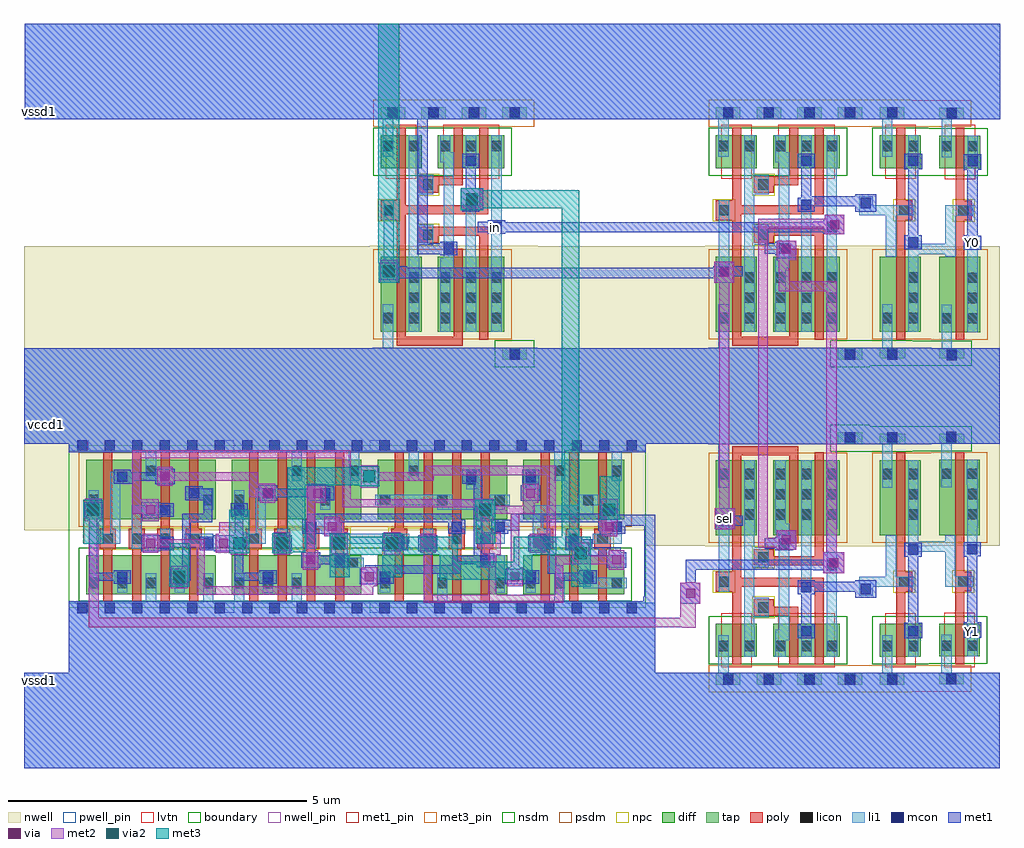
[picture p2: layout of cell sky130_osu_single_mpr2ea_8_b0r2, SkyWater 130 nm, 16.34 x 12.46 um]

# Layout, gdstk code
import gdstk
lib = gdstk.Library(unit=1e-6, precision=1e-09)
def R(c, l, rs):  # rectangles x0, y0, x1, y1
    for r in rs: c.add(gdstk.rectangle(r[:2], r[2:], *l))
def A(c, l, x, y, w, h, nx, ny, dx, dy):  # array of equal rectangles
    R(c, l, [(x+i*dx, y+j*dy, x+i*dx+w, y+j*dy+h) for i in range(nx) for j in range(ny)])
nwell_pin = (64, 16)
nwell = (64, 20)
diff = (65, 20)
tap = (65, 44)
poly = (66, 20)
licon = (66, 44)
li1 = (67, 20)
mcon = (67, 44)
met1_pin = (68, 16)
met1 = (68, 20)
via = (68, 44)
met2 = (69, 20)
via2 = (69, 44)
met3_pin = (70, 16)
met3 = (70, 20)
nsdm = (93, 44)
psdm = (94, 20)
npc = (95, 20)
pwell_pin = (122, 16)
lvtn = (125, 44)
boundary = (235, 4)

sky130_osu_sc_12t_hs__mu = lib.new_cell('sky130_osu_sc_12T_hs__mux2_1')
R(sky130_osu_sc_12t_hs__mu, nwell, [(-0.05,2.42,2.76,4.51)])
R(sky130_osu_sc_12t_hs__mu, diff, [(0.13,0.57,0.815,1.12), (1.085,0.57,2.2,1.12), (0.13,2.6,0.815,3.86), (1.085,2.6,2.2,3.86)])
A(sky130_osu_sc_12t_hs__mu, tap, 0.13, 0.1, 0.41, 0.2, 4, 1, 0.68, 0)
R(sky130_osu_sc_12t_hs__mu, tap, [(2.17,4.13,2.58,4.33)])
R(sky130_osu_sc_12t_hs__mu, poly, [(0.4,0.44,0.55,1.66), (1.355,0.44,1.505,1.26), (1.785,0.44,1.935,1.74), (0.76,1.26,1.505,1.41), (0.76,1.41,1.095,1.53), (0.13,1.66,0.55,1.74), (0.13,1.74,1.935,1.89), (0.13,1.89,0.55,1.99), (0.4,1.99,0.55,3.94), (0.76,2.1,1.935,2.25), (0.76,2.25,1.095,2.37), (1.785,2.25,1.935,3.99), (1.355,2.47,1.505,3.94), (0.4,3.94,1.505,4.09)])
A(sky130_osu_sc_12t_hs__mu, licon, 0.25, 0.13, 0.17, 0.17, 4, 1, 0.68, 0)
A(sky130_osu_sc_12t_hs__mu, licon, 0.605, 2.865, 0.17, 0.17, 1, 3, 0, 0.34)
A(sky130_osu_sc_12t_hs__mu, licon, 1.125, 2.865, 0.17, 0.17, 1, 3, 0, 0.34)
A(sky130_osu_sc_12t_hs__mu, licon, 1.56, 2.865, 0.17, 0.17, 1, 3, 0, 0.34)
A(sky130_osu_sc_12t_hs__mu, licon, 1.99, 2.865, 0.17, 0.17, 1, 3, 0, 0.34)
R(sky130_osu_sc_12t_hs__mu, licon, [(0.17,0.665,0.34,0.835), (0.605,0.665,0.775,0.835), (1.125,0.665,1.295,0.835), (1.56,0.665,1.73,0.835), (1.99,0.665,2.16,0.835), (0.84,1.31,1.01,1.48), (0.18,1.74,0.35,1.91), (0.84,2.15,1.01,2.32), (0.17,3.545,0.34,3.715), (2.29,4.13,2.46,4.3)])
R(sky130_osu_sc_12t_hs__mu, li1, [(0,0,2.75,0.3), (0.17,0.3,0.34,0.93), (0.6,0.57,0.775,1.06), (1.125,0.57,1.295,0.85), (1.555,0.57,1.73,1.08), (1.985,0.57,2.16,1.12), (1.125,0.85,1.355,1.02), (1.185,1.02,1.355,2.63), (0.6,1.06,0.77,1.23), (1.985,1.12,2.155,2.72), (0.6,1.23,1.01,1.56), (0.6,1.56,0.77,2.07), (1.555,1.65,1.725,2.6), (0.18,1.66,0.35,2.93), (0.6,2.07,1.01,2.4), (0.6,2.4,0.77,2.6), (0.6,2.6,0.775,3.86), (1.555,2.6,1.73,3.86), (1.125,2.63,1.355,2.8), (1.985,2.72,2.16,3.86), (1.125,2.8,1.295,3.86), (0.17,3.4,0.34,4.13), (0,4.13,2.75,4.44)])
A(sky130_osu_sc_12t_hs__mu, mcon, 0.25, 0.1, 0.17, 0.17, 4, 1, 0.68, 0)
R(sky130_osu_sc_12t_hs__mu, mcon, [(1.555,0.91,1.725,1.08), (1.555,1.65,1.725,1.82), (1.985,2.02,2.155,2.19), (1.185,2.38,1.355,2.55), (0.18,2.76,0.35,2.93), (2.29,4.16,2.46,4.33)])
R(sky130_osu_sc_12t_hs__mu, met1, [(0,0,2.75,0.3), (1.495,0.88,1.785,1.11), (1.555,1.11,1.725,1.62), (1.495,1.62,1.785,1.85), (1.925,1.99,2.215,2.02), (1.755,2.02,2.215,2.19), (1.925,2.19,2.215,2.22), (1.125,2.35,1.415,2.38), (0.95,2.38,1.415,2.55), (1.125,2.55,1.415,2.58), (0.12,2.73,0.41,2.76), (0.12,2.76,0.58,2.93), (0.12,2.93,0.41,2.96), (0,4.13,2.75,4.44)])
R(sky130_osu_sc_12t_hs__mu, nsdm, [(0.005,0.445,2.325,1.245), (2.045,4.005,2.705,4.455)])
R(sky130_osu_sc_12t_hs__mu, psdm, [(0.005,-0.025,2.705,0.425), (0.005,2.475,2.325,3.985)])
R(sky130_osu_sc_12t_hs__mu, npc, [(0.74,1.21,1.11,1.58), (0.08,1.64,0.45,2.01), (0.74,2.05,1.11,2.42)])
R(sky130_osu_sc_12t_hs__mu, lvtn, [(0.22,0.39,0.73,1.3), (1.175,0.39,2.115,1.3)])
sky130_osu_sc_12t_hs__mu.add(gdstk.Label('S0', (0.27,2.85), layer=68, texttype=5))
sky130_osu_sc_12t_hs__mu.add(gdstk.Label('Y', (1.645,1.74), layer=68, texttype=5))
sky130_osu_sc_12t_hs__mu.add(gdstk.Label('A0', (1.265,2.47), layer=68, texttype=5))
sky130_osu_sc_12t_hs__mu.add(gdstk.Label('A1', (2.075,2.11), layer=68, texttype=5))
sky130_osu_sc_12t_hs__mu.add(gdstk.Label('vccd1', (2.38,4.2), layer=68, texttype=5))
sky130_osu_sc_12t_hs__mu.add(gdstk.Label('vssd1 ', (0.34,0.24), layer=68, texttype=5))

sky130_osu_sc_12t_hs__in = lib.new_cell('sky130_osu_sc_12T_hs__inv_1')
R(sky130_osu_sc_12t_hs__in, nwell, [(-0.05,2.42,0.995,4.51)])
R(sky130_osu_sc_12t_hs__in, diff, [(0.13,0.57,0.815,1.12), (0.13,2.6,0.815,3.86)])
R(sky130_osu_sc_12t_hs__in, tap, [(0.13,0.1,0.54,0.3), (0.13,4.13,0.55,4.3)])
R(sky130_osu_sc_12t_hs__in, poly, [(0.4,0.44,0.55,1.66), (0.4,1.66,0.67,1.99), (0.4,1.99,0.55,3.99)])
A(sky130_osu_sc_12t_hs__in, licon, 0.605, 2.865, 0.17, 0.17, 1, 3, 0, 0.34)
R(sky130_osu_sc_12t_hs__in, licon, [(0.25,0.13,0.42,0.3), (0.17,0.665,0.34,0.835), (0.605,0.665,0.775,0.835), (0.45,1.74,0.62,1.91), (0.17,3.545,0.34,3.715), (0.25,4.13,0.42,4.3)])
R(sky130_osu_sc_12t_hs__in, li1, [(0,0,0.99,0.3), (0.17,0.3,0.34,0.93), (0.605,0.57,0.775,1.08), (0.23,1.74,0.7,1.91), (0.23,1.91,0.4,2.6), (0.6,2.28,0.77,2.715), (0.6,2.715,0.775,3.86), (0.17,3.4,0.34,4.13), (0,4.13,0.99,4.44)])
R(sky130_osu_sc_12t_hs__in, mcon, [(0.25,0.1,0.42,0.27), (0.605,0.91,0.775,1.08), (0.6,2.28,0.77,2.45), (0.25,4.16,0.42,4.33)])
R(sky130_osu_sc_12t_hs__in, met1, [(0,0,0.99,0.3), (0.54,0.88,0.835,1.14), (0.6,1.14,0.77,2.24), (0.54,2.24,0.77,2.245), (0.54,2.245,0.83,2.48), (0,4.13,0.99,4.44)])
R(sky130_osu_sc_12t_hs__in, nsdm, [(0.005,0.445,0.94,1.245), (0.005,4.005,0.675,4.425)])
R(sky130_osu_sc_12t_hs__in, psdm, [(0.005,-0.025,0.665,0.425), (0.005,2.475,0.94,3.985)])
R(sky130_osu_sc_12t_hs__in, npc, [(0.35,1.64,0.72,2.01)])
R(sky130_osu_sc_12t_hs__in, lvtn, [(0.22,0.39,0.73,1.3)])
sky130_osu_sc_12t_hs__in.add(gdstk.Label('A', (0.32,1.85), layer=67, texttype=5))
sky130_osu_sc_12t_hs__in.add(gdstk.Label('Y', (0.75,1.72), layer=68, texttype=5))
sky130_osu_sc_12t_hs__in.add(gdstk.Label('vccd1', (0.34,4.2), layer=68, texttype=5))
sky130_osu_sc_12t_hs__in.add(gdstk.Label('vssd1', (0.34,0.24), layer=68, texttype=5))

sky130_osu_sc_12t_hs__fi = lib.new_cell('sky130_osu_sc_12T_hs__fill_8')
R(sky130_osu_sc_12t_hs__fi, nwell, [(-0.045,2.425,0.895,4.485)])
R(sky130_osu_sc_12t_hs__fi, li1, [(0,0,0.88,0.305), (0,4.135,0.88,4.44)])
R(sky130_osu_sc_12t_hs__fi, met1, [(0,0,0.88,0.305), (0,4.135,0.88,4.44)])
sky130_osu_sc_12t_hs__fi.add(gdstk.Label('vccd1', (0.555,4.295), layer=68, texttype=5))
sky130_osu_sc_12t_hs__fi.add(gdstk.Label('vssd1', (0.56,0.14), layer=68, texttype=5))

c_sky130_osu_sc_12t_hs__fi = lib.new_cell('sky130_osu_sc_12T_hs__fill_2')
R(c_sky130_osu_sc_12t_hs__fi, nwell, [(-0.035,2.425,0.25,4.485)])
R(c_sky130_osu_sc_12t_hs__fi, li1, [(0,0,0.22,0.305), (0,4.135,0.22,4.44)])
R(c_sky130_osu_sc_12t_hs__fi, met1, [(0,0,0.22,0.305), (0,4.135,0.22,4.44)])
c_sky130_osu_sc_12t_hs__fi.add(gdstk.Label('vccd1', (0.11,4.28), layer=68, texttype=5))
c_sky130_osu_sc_12t_hs__fi.add(gdstk.Label('vssd1', (0.115,0.14), layer=68, texttype=5))

scs130hd_mpr2ea_8 = lib.new_cell('scs130hd_mpr2ea_8')
A(scs130hd_mpr2ea_8, nwell_pin, 0.16, 2.63, 0.17, 0.17, 4, 1, 2.44, 0)
R(scs130hd_mpr2ea_8, nwell, [(-0.19,1.3,9.85,2.91)])
A(scs130hd_mpr2ea_8, diff, 0.29, 0.23, 2.17, 0.65, 3, 1, 2.44, 0)
A(scs130hd_mpr2ea_8, diff, 0.29, 1.48, 2.17, 1, 3, 1, 2.44, 0)
R(scs130hd_mpr2ea_8, diff, [(7.61,0.23,9.3,0.88), (7.61,1.48,9.3,2.48)])
A(scs130hd_mpr2ea_8, poly, 0.58, 0.1, 0.15, 0.89, 4, 1, 0.48, 0)
A(scs130hd_mpr2ea_8, poly, 3.02, 0.1, 0.15, 0.89, 4, 1, 0.48, 0)
A(scs130hd_mpr2ea_8, poly, 5.46, 0.1, 0.15, 0.89, 4, 1, 0.48, 0)
A(scs130hd_mpr2ea_8, poly, 7.9, 0.1, 0.15, 0.89, 3, 1, 0.48, 0)
A(scs130hd_mpr2ea_8, poly, 0.52, 0.99, 0.27, 0.33, 4, 1, 0.48, 0)
A(scs130hd_mpr2ea_8, poly, 2.96, 0.99, 0.27, 0.33, 4, 1, 0.48, 0)
A(scs130hd_mpr2ea_8, poly, 5.4, 0.99, 0.27, 0.33, 4, 1, 0.48, 0)
A(scs130hd_mpr2ea_8, poly, 7.84, 0.99, 0.27, 0.33, 3, 1, 0.48, 0)
A(scs130hd_mpr2ea_8, poly, 0.58, 1.32, 0.15, 1.29, 4, 1, 0.48, 0)
A(scs130hd_mpr2ea_8, poly, 3.02, 1.32, 0.15, 1.29, 4, 1, 0.48, 0)
A(scs130hd_mpr2ea_8, poly, 5.46, 1.32, 0.15, 1.29, 4, 1, 0.48, 0)
A(scs130hd_mpr2ea_8, poly, 7.9, 1.32, 0.15, 1.29, 3, 1, 0.48, 0)
A(scs130hd_mpr2ea_8, licon, 0.33, 0.33, 0.17, 0.17, 5, 1, 0.48, 0)
A(scs130hd_mpr2ea_8, licon, 2.77, 0.33, 0.17, 0.17, 3, 1, 0.48, 0)
A(scs130hd_mpr2ea_8, licon, 5.21, 0.33, 0.17, 0.17, 3, 2, 0.96, 1.39)
A(scs130hd_mpr2ea_8, licon, 0.57, 1.07, 0.17, 0.17, 4, 1, 0.48, 0)
A(scs130hd_mpr2ea_8, licon, 3.01, 1.07, 0.17, 0.17, 4, 1, 0.48, 0)
A(scs130hd_mpr2ea_8, licon, 5.45, 1.07, 0.17, 0.17, 4, 1, 0.48, 0)
A(scs130hd_mpr2ea_8, licon, 7.89, 1.07, 0.17, 0.17, 3, 1, 0.48, 0)
R(scs130hd_mpr2ea_8, licon, [(7.65,0.33,7.82,0.5), (8.13,0.33,8.3,0.5), (9.09,0.33,9.26,0.5), (4.67,0.67,4.84,0.84), (0.33,1.72,0.5,1.89), (2.25,1.72,2.42,1.89), (2.77,1.72,2.94,1.89), (4.21,1.72,4.38,1.89), (8.61,1.72,8.78,1.89), (6.65,2.06,6.82,2.23), (7.65,2.06,7.82,2.23), (1.29,2.21,1.46,2.38), (3.73,2.21,3.9,2.38), (4.69,2.21,4.86,2.38), (5.69,2.21,5.86,2.38), (8.13,2.21,8.3,2.38), (9.09,2.21,9.26,2.38)])
A(scs130hd_mpr2ea_8, li1, 0.33, 0.08, 0.17, 0.5, 3, 1, 0.96, 0)
A(scs130hd_mpr2ea_8, li1, 3.49, 0.99, 0.17, 0.33, 3, 1, 2.44, 0)
R(scs130hd_mpr2ea_8, li1, [(0,-0.09,9.66,0.08), (2.77,0.08,2.94,0.58), (3.73,0.08,3.9,0.58), (6.17,0.08,6.34,0.58), (8.13,0.08,8.3,0.58), (0.81,0.25,0.98,0.6), (1.77,0.25,1.94,0.6), (3.25,0.25,3.42,0.6), (5.21,0.25,5.38,0.6), (7.13,0.25,7.3,0.71), (7.65,0.25,7.82,0.6), (8.61,0.33,9.34,0.5), (8.61,0.5,8.78,0.6), (4.45,0.67,4.94,0.84), (6.89,0.71,7.3,0.88), (4.45,0.84,4.62,0.88), (1.05,0.99,1.22,1.55), (1.53,0.99,1.7,1.32), (2.25,0.99,2.42,1.07), (3.97,0.99,4.14,1.44), (5.45,0.99,5.62,1.07), (6.41,0.99,6.58,1.44), (7.89,0.99,8.06,1.07), (0.49,1.07,0.86,1.24), (1.93,1.07,2.42,1.24), (2.93,1.07,3.3,1.24), (4.37,1.07,5.7,1.24), (6.81,1.07,7.3,1.24), (7.77,1.07,8.06,1.32), (8.77,1.07,9.26,1.24), (0.69,1.24,0.86,2.11), (3.13,1.24,3.3,1.83), (7.13,1.24,7.3,1.44), (9.09,1.24,9.26,1.44), (7.77,1.32,7.94,1.55), (0.33,1.55,0.5,1.97), (1.05,1.55,1.7,1.72), (2.77,1.55,2.94,1.97), (7.77,1.55,8.78,1.72), (2.25,1.64,2.42,1.83), (4.21,1.64,4.38,2), (6.17,1.64,7.3,1.72), (5.13,1.72,7.38,1.81), (8.53,1.72,8.86,1.89), (5.13,1.81,6.42,1.89), (7.05,1.81,7.38,1.89), (2.01,1.83,2.42,2), (3.13,1.83,3.42,2), (6.65,1.98,6.82,2.31), (7.65,1.98,7.82,2.31), (0.69,2.11,0.98,2.28), (1.29,2.13,1.46,2.63), (3.73,2.13,3.9,2.63), (4.69,2.13,4.86,2.63), (5.69,2.13,5.86,2.63), (8.13,2.13,8.3,2.63), (9.09,2.13,9.26,2.63), (0,2.63,9.66,2.8)])
A(scs130hd_mpr2ea_8, mcon, 0.14, -0.09, 0.17, 0.17, 21, 2, 0.46, 2.72)
R(scs130hd_mpr2ea_8, mcon, [(0.81,0.43,0.98,0.6), (1.77,0.43,1.94,0.6), (3.25,0.43,3.42,0.6), (5.21,0.43,5.38,0.6), (7.65,0.43,7.82,0.6), (8.61,0.43,8.78,0.6), (4.45,0.71,4.62,0.88), (6.89,0.71,7.06,0.88), (1.53,0.99,1.7,1.16), (2.25,0.99,2.42,1.16), (3.49,0.99,3.66,1.16), (5.45,0.99,5.62,1.16), (5.93,0.99,6.1,1.16), (7.89,0.99,8.06,1.16), (8.37,0.99,8.54,1.16), (3.97,1.27,4.14,1.44), (6.41,1.27,6.58,1.44), (7.13,1.27,7.3,1.44), (9.09,1.27,9.26,1.44), (0.33,1.55,0.5,1.72), (1.53,1.55,1.7,1.72), (2.77,1.55,2.94,1.72), (2.01,1.83,2.18,2), (3.25,1.83,3.42,2), (4.21,1.83,4.38,2), (0.81,2.11,0.98,2.28), (6.65,2.11,6.82,2.28), (7.65,2.11,7.82,2.28)])
R(scs130hd_mpr2ea_8, met1_pin, [(0.15,-0.08,0.32,0.08), (0.15,2.63,0.32,2.8)])
R(scs130hd_mpr2ea_8, met1, [(0,-0.24,9.66,0.11), (1.69,0.39,2.01,0.45), (4.87,0.39,5.19,0.4), (7.31,0.39,7.63,0.4), (0.75,0.4,1.04,0.45), (3.19,0.4,3.48,0.45), (4.87,0.4,5.44,0.57), (7.31,0.4,7.88,0.63), (8.55,0.4,8.84,0.45), (0.34,0.45,1.04,0.59), (1.69,0.45,2.04,0.65), (2.78,0.45,3.48,0.59), (8.14,0.45,8.84,0.57), (4.87,0.57,6.56,0.65), (8.02,0.57,8.84,0.59), (0.34,0.59,0.48,1.51), (0.75,0.59,1.04,0.63), (2.78,0.59,2.92,0.95), (3.19,0.59,3.48,0.63), (8.02,0.59,8.28,0.71), (8.55,0.59,8.84,0.63), (7.31,0.63,7.63,0.65), (1.9,0.65,2.04,1.43), (4.96,0.65,6.56,0.71), (3.89,0.67,4.21,0.73), (9.01,0.67,9.33,0.87), (4.39,0.68,4.68,0.73), (6.83,0.68,7.12,0.73), (6.42,0.71,6.56,0.73), (8.02,0.71,8.16,0.95), (3.89,0.73,4.68,0.87), (6.42,0.73,7.12,0.87), (3.89,0.87,4.21,0.93), (4.39,0.87,4.68,0.91), (6.78,0.87,7.12,0.91), (8.62,0.87,9.33,0.93), (6.78,0.91,6.92,2.08), (8.62,0.93,9.24,0.96), (1.21,0.95,1.53,0.96), (2.43,0.95,2.92,0.96), (3.41,0.95,3.73,1.21), (5.25,0.95,5.57,0.96), (5.85,0.95,6.17,1.21), (7.69,0.95,8.16,1.19), (1.21,0.96,1.76,1.19), (2.19,0.96,2.92,1.19), (5.25,0.96,5.68,1.19), (8.31,0.96,9.24,1.01), (8.31,1.01,8.76,1.15), (8.31,1.15,8.6,1.19), (1.21,1.19,1.53,1.21), (2.43,1.19,2.92,1.21), (5.25,1.19,5.57,1.21), (7.69,1.19,8.01,1.21), (2.78,1.21,2.92,1.52), (4.25,1.23,4.57,1.24), (8.89,1.23,9.21,1.24), (3.91,1.24,4.57,1.43), (6.35,1.24,6.64,1.43), (7.07,1.24,7.36,1.29), (8.89,1.24,9.32,1.29), (7.07,1.29,7.54,1.43), (8.86,1.29,9.32,1.43), (1.9,1.43,2.4,1.57), (3.91,1.43,6.64,1.47), (7.07,1.43,9.32,1.47), (3.98,1.47,6.56,1.57), (7.4,1.47,9.21,1.49), (7.4,1.49,9,1.57), (0.25,1.51,0.57,1.77), (1.21,1.51,1.53,1.52), (1.21,1.52,1.76,1.75), (2.71,1.52,3,1.75), (2.26,1.57,2.4,1.8), (1.21,1.75,1.53,1.77), (3.17,1.79,3.49,1.85), (4.01,1.79,4.33,1.8), (7.57,1.79,7.89,2.05), (1.95,1.8,2.4,1.99), (4.01,1.8,4.44,1.85), (3.17,1.85,4.44,1.99), (1.95,1.99,2.24,2.03), (3.17,1.99,3.49,2.05), (4.01,1.99,4.44,2.03), (4.01,2.03,4.33,2.05), (7.59,2.05,7.88,2.31), (1.45,2.07,1.77,2.13), (0.75,2.08,1.08,2.13), (6.59,2.08,6.92,2.27), (0.75,2.13,1.77,2.27), (0.75,2.27,1.04,2.31), (1.45,2.27,1.77,2.33), (6.59,2.27,6.88,2.31), (0,2.6,9.66,2.96)])
R(scs130hd_mpr2ea_8, via, [(1.775,0.445,1.925,0.595), (4.955,0.445,5.105,0.595), (7.395,0.445,7.545,0.595), (3.975,0.725,4.125,0.875), (9.095,0.725,9.245,0.875), (1.295,1.005,1.445,1.155), (2.515,1.005,2.665,1.155), (3.495,1.005,3.645,1.155), (5.335,1.005,5.485,1.155), (5.935,1.005,6.085,1.155), (7.775,1.005,7.925,1.155), (4.335,1.285,4.485,1.435), (8.975,1.285,9.125,1.435), (0.335,1.565,0.485,1.715), (1.295,1.565,1.445,1.715), (3.255,1.845,3.405,1.995), (4.095,1.845,4.245,1.995), (7.655,1.845,7.805,1.995), (1.535,2.125,1.685,2.275)])
R(scs130hd_mpr2ea_8, met2, [(5.94,0.08,8.28,0.22), (2.14,0.22,5.1,0.36), (5.94,0.22,6.08,0.92), (7.02,0.22,7.16,0.89), (8.14,0.22,8.28,0.73), (1.71,0.33,1.99,0.705), (2.14,0.36,2.28,1.01), (4.9,0.36,5.16,0.68), (7.34,0.36,7.6,0.68), (3.92,0.64,4.18,0.96), (9.04,0.64,9.3,0.73), (7.4,0.68,7.54,1.57), (8.14,0.73,9.3,0.87), (8.43,0.87,8.71,1.1), (9.04,0.87,9.3,0.96), (2.71,0.89,2.99,0.92), (3.43,0.89,3.71,1.265), (4.39,0.89,4.67,1.2), (5.27,0.89,5.55,1.265), (6.95,0.89,7.23,1.26), (1.24,0.92,1.5,1.01), (2.46,0.92,2.99,1.24), (5.88,0.92,6.14,1.24), (7.72,0.92,7.98,1.1), (3.98,0.96,4.12,1.76), (1.24,1.01,2.28,1.15), (7.72,1.1,8.15,1.24), (1.24,1.15,1.5,1.24), (4.28,1.2,4.67,1.265), (8.92,1.2,9.18,1.45), (2.52,1.24,2.99,1.265), (8,1.24,8.15,2.22), (2.52,1.265,2.92,1.43), (4.28,1.265,4.6,1.43), (4.28,1.43,4.54,1.52), (0.27,1.45,0.55,1.825), (1.23,1.45,1.51,1.57), (6.83,1.45,7.11,1.57), (8.91,1.45,9.19,1.825), (1.06,1.57,1.51,1.82), (6.83,1.57,7.8,1.68), (4.58,1.68,7.8,1.71), (4.58,1.71,7.11,1.82), (7.6,1.71,7.8,1.76), (3.2,1.76,3.46,1.85), (3.98,1.76,4.3,2.08), (7.6,1.76,7.86,2.08), (1.06,1.82,1.2,2.5), (4.58,1.82,4.72,2.5), (6.81,1.82,7.11,1.825), (3.02,1.85,3.46,2.08), (4.89,2.01,5.17,2.13), (1.48,2.04,1.74,2.13), (3.02,2.08,3.16,2.13), (1.48,2.13,3.16,2.27), (4.89,2.13,6.11,2.22), (4.89,2.22,8.15,2.27), (1.48,2.27,1.74,2.36), (4.89,2.27,5.17,2.385), (5.97,2.27,8.15,2.38), (1.06,2.5,4.72,2.64)])
R(scs130hd_mpr2ea_8, via2, [(1.75,0.42,1.95,0.62), (8.47,0.81,8.67,1.01), (2.75,0.98,2.95,1.18), (3.47,0.98,3.67,1.18), (4.43,0.98,4.63,1.18), (5.31,0.98,5.51,1.18), (0.31,1.54,0.51,1.74), (6.87,1.54,7.07,1.74), (8.95,1.54,9.15,1.74), (4.93,2.1,5.13,2.3)])
R(scs130hd_mpr2ea_8, met3_pin, [(1.69,0.35,2.02,1.08), (8.41,0.35,8.74,1.08), (4.37,0.51,4.7,1.24), (5.25,0.51,5.58,1.24), (2.69,0.91,3.02,1.64), (0.25,1.07,0.58,1.8), (6.81,1.07,7.14,1.8), (8.89,1.47,9.22,2.2)])
R(scs130hd_mpr2ea_8, met3, [(1.685,0.35,2.02,0.675), (8.41,0.35,8.74,0.73), (4.37,0.51,4.7,0.915), (5.25,0.51,5.58,0.925), (1.69,0.675,2.02,1.08), (8.405,0.73,8.74,1.08), (2.685,0.91,3.02,1.245), (3.405,0.91,3.74,0.93), (4.365,0.915,4.7,1.245), (5.245,0.925,5.58,1.245), (3.405,0.93,3.96,1.245), (0.245,1.07,0.58,1.805), (6.81,1.07,7.14,1.48), (2.69,1.245,3.02,1.64), (3.66,1.245,3.96,2.05), (8.885,1.47,9.22,1.8), (6.805,1.48,7.14,1.805), (8.89,1.8,9.22,2.2), (4.865,2.03,5.2,2.05), (3.66,2.05,5.2,2.35), (4.865,2.35,5.2,2.37)])
R(scs130hd_mpr2ea_8, nsdm, [(0.165,0.105,9.425,1.005)])
R(scs130hd_mpr2ea_8, psdm, [(0.165,1.355,9.425,2.605)])
A(scs130hd_mpr2ea_8, npc, 0.47, 0.97, 1.81, 0.37, 3, 1, 2.44, 0)
R(scs130hd_mpr2ea_8, npc, [(7.79,0.97,9.12,1.34)])
A(scs130hd_mpr2ea_8, pwell_pin, 0.16, -0.08, 0.17, 0.16, 4, 1, 2.44, 0)
R(scs130hd_mpr2ea_8, boundary, [(0,0,9.66,2.72)])
scs130hd_mpr2ea_8.add(gdstk.Label('VPB', (0.245,2.715), layer=64, texttype=5))
scs130hd_mpr2ea_8.add(gdstk.Label('VPB', (2.685,2.715), layer=64, texttype=5))
scs130hd_mpr2ea_8.add(gdstk.Label('VPB', (5.125,2.715), layer=64, texttype=5))
scs130hd_mpr2ea_8.add(gdstk.Label('VPB', (7.565,2.715), layer=64, texttype=5))
scs130hd_mpr2ea_8.add(gdstk.Label('VNB', (0.245,0), layer=64, texttype=59))
scs130hd_mpr2ea_8.add(gdstk.Label('VNB', (2.685,0), layer=64, texttype=59))
scs130hd_mpr2ea_8.add(gdstk.Label('VNB', (5.125,0), layer=64, texttype=59))
scs130hd_mpr2ea_8.add(gdstk.Label('VNB', (7.565,0), layer=64, texttype=59))
scs130hd_mpr2ea_8.add(gdstk.Label('vpwr', (0.235,2.715), layer=68, texttype=5))
scs130hd_mpr2ea_8.add(gdstk.Label('vgnd', (0.235,0), layer=68, texttype=5))
scs130hd_mpr2ea_8.add(gdstk.Label('B0', (9.055,1.835), layer=70, texttype=5))
scs130hd_mpr2ea_8.add(gdstk.Label('A1', (4.535,0.875), layer=70, texttype=5))
scs130hd_mpr2ea_8.add(gdstk.Label('R2', (0.415,1.435), layer=70, texttype=5))
scs130hd_mpr2ea_8.add(gdstk.Label('A0', (8.575,0.715), layer=70, texttype=5))
scs130hd_mpr2ea_8.add(gdstk.Label('R0', (6.975,1.435), layer=70, texttype=5))
scs130hd_mpr2ea_8.add(gdstk.Label('R3', (2.855,1.275), layer=70, texttype=5))
scs130hd_mpr2ea_8.add(gdstk.Label('B1', (5.415,0.875), layer=70, texttype=5))
scs130hd_mpr2ea_8.add(gdstk.Label('R1', (1.855,0.715), layer=70, texttype=5))

sky130_osu_single_mpr2ea = lib.new_cell('sky130_osu_single_mpr2ea_8_b0r2')
R(sky130_osu_single_mpr2ea, nwell, [(10.39,3.72,11.455,4.02), (16.11,3.72,16.335,4.68), (15.365,3.86,15.515,4.035), (0,3.985,0.635,4.095), (10.385,4.02,11.455,5.43), (0,4.095,0.885,4.605), (0,4.605,0.56,5.43), (16.15,4.68,16.335,4.69), (16.175,4.69,16.335,5.21), (15.65,4.755,16.105,5.275), (16.115,5.21,16.335,5.215), (16.11,5.215,16.335,5.43), (0,5.43,16.335,8.74)])
R(sky130_osu_single_mpr2ea, diff, [(15.795,2.21,15.965,2.38)])
R(sky130_osu_single_mpr2ea, li1, [(0.005,0,16.335,1.6), (0.75,1.6,10.565,2.745), (15.795,2.21,15.965,2.38), (0.75,2.745,1.07,2.75), (1.08,2.745,10.565,2.75), (0.875,2.75,1.07,2.765), (3.175,2.75,3.37,2.765), (5.01,2.75,5.205,2.765), (6.85,2.75,7.045,2.765), (8.7,2.75,8.9,2.78), (10.37,2.75,10.565,2.765), (8.88,2.78,8.9,2.865), (13.98,2.885,14.21,3.035), (13.98,3.035,14.615,3.205), (14.91,3.625,15.5,3.795), (15.785,4.755,15.955,5.1), (0.005,5.43,16.335,7.03), (14.97,8.445,14.975,8.605), (14.845,8.605,15.515,8.775), (15.795,8.71,15.965,8.88), (13.98,9.255,14.48,9.425), (13.98,9.425,14.21,9.575), (0.01,10.86,16.34,12.46)])
R(sky130_osu_single_mpr2ea, mcon, [(15.795,2.21,15.965,2.38), (14.01,2.915,14.18,3.085), (15.795,8.71,15.965,8.88), (14.01,9.375,14.18,9.545)])
R(sky130_osu_single_mpr2ea, met1_pin, [(15.795,2.21,15.965,2.38), (15.795,8.71,15.965,8.88), (7.825,8.97,7.97,9.14)])
R(sky130_osu_single_mpr2ea, met1, [(0.005,0,16.335,1.6), (0.75,1.6,10.565,2.745), (15.795,2.21,15.965,2.38), (0.75,2.745,1.07,2.75), (1.08,2.745,10.565,2.75), (0.875,2.75,1.07,2.795), (3.175,2.75,3.37,2.795), (5.01,2.75,5.205,2.795), (6.85,2.75,7.045,2.765), (10.37,2.75,10.565,2.86), (10.985,2.755,11.325,3.105), (13.92,2.855,14.27,2.95), (10.375,2.86,10.565,2.88), (10.38,2.88,10.565,4.055), (13.01,2.95,14.27,3.115), (11.075,3.105,11.245,3.32), (13.01,3.115,13.18,3.12), (13.24,3.115,14.27,3.12), (13.92,3.12,14.27,3.145), (13.38,3.26,13.73,3.32), (11.075,3.32,13.73,3.49), (13.38,3.49,13.73,3.61), (12.605,3.66,12.925,3.69), (12.575,3.69,12.925,3.86), (12.605,3.86,12.925,3.98), (11.565,4,11.905,4.35), (9.68,4.03,9.92,4.055), (9.68,4.055,10.565,4.24), (9.68,4.24,9.92,4.35), (0.005,5.43,16.335,7.03), (11.555,8.125,11.895,8.23), (5.935,8.175,6.285,8.205), (5.935,8.205,11.54,8.23), (5.935,8.23,11.895,8.375), (5.935,8.375,6.285,8.465), (11.54,8.375,11.895,8.4), (11.555,8.4,11.895,8.475), (12.605,8.54,12.925,8.83), (6.585,8.6,7.025,8.67), (6.585,8.67,6.96,8.77), (15.795,8.71,15.965,8.88), (6.585,8.77,6.93,8.775), (6.585,8.775,6.76,10.86), (13.405,8.94,13.73,8.97), (7.825,8.97,13.73,9.14), (13.405,9.14,13.73,9.265), (13.92,9.315,14.27,9.405), (7.315,9.34,7.57,9.36), (13.01,9.34,13.24,9.405), (7.315,9.36,7.685,9.71), (13.01,9.405,14.27,9.51), (13.24,9.51,14.27,9.54), (13.18,9.54,14.27,9.575), (13.92,9.575,14.27,9.605), (0.01,10.86,16.34,12.46)])
R(sky130_osu_single_mpr2ea, via, [(11.085,2.855,11.235,3.005), (13.48,3.36,13.63,3.51), (12.69,3.745,12.84,3.895), (11.665,4.1,11.815,4.25), (11.655,8.225,11.805,8.375), (6.035,8.245,6.185,8.395), (12.69,8.61,12.84,8.76), (13.495,9.025,13.645,9.175), (7.425,9.45,7.575,9.6)])
R(sky130_osu_single_mpr2ea, met2, [(11.02,2.35,11.245,2.355), (1.08,2.355,11.245,2.515), (1.08,2.515,1.25,4.51), (10.985,2.515,11.245,2.755), (10.985,2.755,11.325,3.105), (11.075,3.105,11.245,3.11), (2.5,3.185,2.67,3.285), (13.38,3.26,13.73,3.61), (13.435,3.61,13.61,7.98), (12.605,3.66,12.925,3.69), (12.29,3.69,12.925,3.86), (12.29,3.86,12.45,9.03), (12.605,3.86,12.925,3.98), (11.565,4,11.905,4.35), (11.64,4.35,11.81,8.125), (12.635,7.98,13.61,8.155), (11.555,8.125,11.895,8.475), (5.965,8.13,6.255,8.51), (12.635,8.155,12.81,8.33), (12.635,8.33,12.805,8.505), (12.605,8.505,12.925,8.83), (13.405,8.94,13.73,9.03), (12.29,9.03,13.73,9.2), (13.405,9.2,13.73,9.265), (7.315,9.34,7.685,9.71)])
R(sky130_osu_single_mpr2ea, via2, [(6.01,8.22,6.21,8.42), (7.4,9.425,7.6,9.625)])
R(sky130_osu_single_mpr2ea, met3, [(6.96,3.155,8.505,3.455), (6.96,3.455,7.26,3.575), (8.2,3.455,8.505,3.575), (5.16,3.575,7.26,3.875), (8.2,3.575,9.3,3.595), (8.2,3.595,9.49,3.875), (9,3.875,9.3,9.375), (5.935,8.13,6.285,8.465), (5.93,8.465,6.28,12.46), (7.315,9.34,7.685,9.375), (7.315,9.375,9.3,9.675), (7.315,9.675,7.685,9.71)])
R(sky130_osu_single_mpr2ea, nsdm, [(15.14,1.745,15.195,2.54), (15.67,2.085,16.09,2.505), (14.16,5.3,14.205,5.72), (14.875,5.305,15.195,5.72), (14.16,6.74,14.205,7.16), (14.875,6.74,15.2,7.155), (15.14,9.92,15.2,10.715)])
R(sky130_osu_single_mpr2ea, psdm, [(14.16,1.27,14.205,1.72), (14.865,1.275,15.195,1.72), (15.14,3.775,15.195,5.28), (15.14,7.18,15.2,8.685), (14.16,10.74,14.205,11.19), (14.865,10.74,15.2,11.185)])
sky130_osu_single_mpr2ea.add(gdstk.Reference(sky130_osu_sc_12t_hs__mu, (11.455,11.165), x_reflection=True))
sky130_osu_single_mpr2ea.add(gdstk.Reference(sky130_osu_sc_12t_hs__mu, (5.84,11.165), x_reflection=True))
sky130_osu_single_mpr2ea.add(gdstk.Reference(sky130_osu_sc_12t_hs__mu, (11.455,1.295)))
sky130_osu_single_mpr2ea.add(gdstk.Reference(sky130_osu_sc_12t_hs__in, (14.2,11.165), x_reflection=True))
sky130_osu_single_mpr2ea.add(gdstk.Reference(sky130_osu_sc_12t_hs__in, (15.195,11.16), x_reflection=True))
sky130_osu_single_mpr2ea.add(gdstk.Reference(sky130_osu_sc_12t_hs__in, (15.19,1.3)))
sky130_osu_single_mpr2ea.add(gdstk.Reference(sky130_osu_sc_12t_hs__in, (14.2,1.295)))
sky130_osu_single_mpr2ea.add(gdstk.Reference(sky130_osu_sc_12t_hs__fi, (9.495,11.165), x_reflection=True))
sky130_osu_single_mpr2ea.add(gdstk.Reference(c_sky130_osu_sc_12t_hs__fi, (8.64,11.165), x_reflection=True))
sky130_osu_single_mpr2ea.add(gdstk.Reference(scs130hd_mpr2ea_8, (0.75,2.685)))
sky130_osu_single_mpr2ea.add(gdstk.Label('vssd1', (0.265,11), layer=68, texttype=5))
sky130_osu_single_mpr2ea.add(gdstk.Label('vssd1', (0.265,1.465), layer=68, texttype=5))
sky130_osu_single_mpr2ea.add(gdstk.Label('vccd1', (0.38,5.755), layer=68, texttype=5))
sky130_osu_single_mpr2ea.add(gdstk.Label('in', (7.897,9.055), layer=68, texttype=5))
sky130_osu_single_mpr2ea.add(gdstk.Label('Y0', (15.88,8.795), layer=68, texttype=5))
sky130_osu_single_mpr2ea.add(gdstk.Label('Y1', (15.88,2.295), layer=68, texttype=5))
sky130_osu_single_mpr2ea.add(gdstk.Label('sel', (11.735,4.185), layer=69, texttype=5))

lib.write_gds('sky130_osu_single_mpr2ea_8_b0r2.gds')
